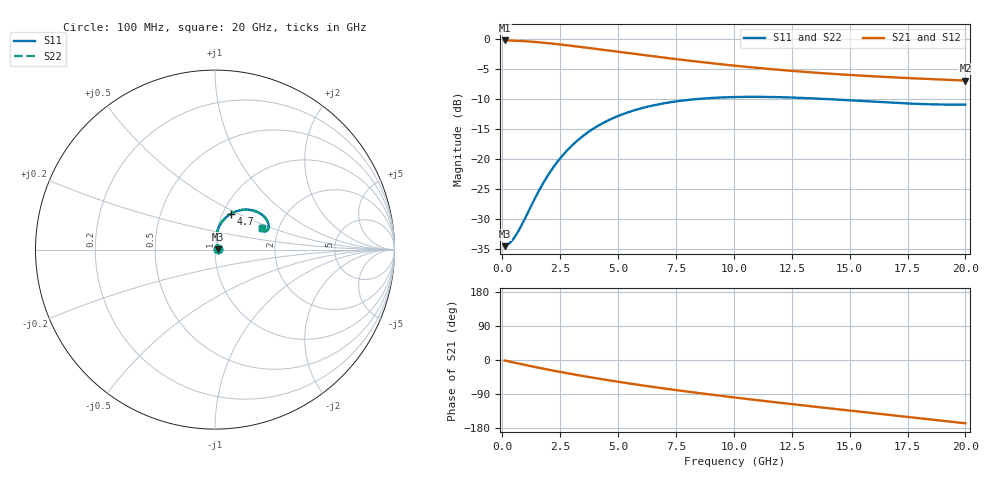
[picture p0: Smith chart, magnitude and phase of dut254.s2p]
! Created with skrf 1.9.0 (http://scikit-rf.org).
# GHz S RI R 50.0
!freq ReS11 ImS11 ReS21 ImS21 ReS12 ImS12 ReS22 ImS22
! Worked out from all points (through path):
!   200 points, 100 MHz to 20 GHz, reference 50 ohm
!   highest |S21| = -0.17 dB at 100 MHz (marker M1); lowest = -6.9 dB at 20 GHz (marker M2)
!   group delay of S21, straight-line fit = 22 ps
!   lowest |S11| = -34.5 dB at 100 MHz (marker M3), VSWR 1.04, Z = 51.9 + j0.271 ohm
!   |S11| at or under -10 dB: start of sweep to 8.245 GHz; 14.28 GHz to end of sweep
!   |S22| runs from -34.5 to -9.6 dB; largest |S21 - S12| = 1.7e-15
!   S11 on the Smith chart (normalised r, x): 100 MHz: 1.04, +0.01; 4.7 GHz: 1.09, +0.46; 20 GHz: 1.64, +0.42
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0.1  0.0187 0.00261  0.9808 -0.0229  0.9808 -0.0229  0.0187 0.00261
0.3  0.0182 0.008  0.9774 -0.0687  0.9774 -0.0687  0.0182 0.008
0.6  0.0167 0.0166  0.9662 -0.1359  0.9662 -0.1359  0.0167 0.0166
0.8  0.0152 0.0228  0.9549 -0.1794  0.9549 -0.1794  0.0152 0.0228
1.1  0.0127 0.0335  0.9328 -0.2416  0.9328 -0.2416  0.0127 0.0335
1.6  0.00945 0.0547  0.8847 -0.3363  0.8847 -0.3363  0.00945 0.0547
1.9  0.00894 0.0693  0.8505 -0.387  0.8505 -0.387  0.00894 0.0693
2.2  0.0101 0.0849  0.8134 -0.433  0.8134 -0.433  0.0101 0.0849
2.8  0.0182 0.1173  0.7333 -0.5111  0.7333 -0.5111  0.0182 0.1173
3.5  0.0373 0.153  0.6348 -0.5808  0.6348 -0.5808  0.0373 0.153
4.1  0.0603 0.1787  0.5497 -0.6241  0.5497 -0.6241  0.0603 0.1787
4.7  0.0871 0.1986  0.4661 -0.6545  0.4661 -0.6545  0.0871 0.1986
5.7  0.135 0.2181  0.3337 -0.6811  0.3337 -0.6811  0.135 0.2181
6.8  0.1848 0.2221  0.2018 -0.6835  0.2018 -0.6835  0.1848 0.2221
8.4  0.2423 0.2063  0.039 -0.653  0.039 -0.653  0.2423 0.2063
10.1  0.28 0.1766  -0.0988 -0.5945  -0.0988 -0.5945  0.28 0.1766
11.7  0.2962 0.1476  -0.2007 -0.5265  -0.2007 -0.5265  0.2962 0.1476
13.4  0.2983 0.1226  -0.2856 -0.447  -0.2856 -0.447  0.2983 0.1226
15  0.2913 0.1076  -0.3474 -0.3676  -0.3474 -0.3676  0.2913 0.1076
16.7  0.2794 0.1021  -0.3961 -0.2795  -0.3961 -0.2795  0.2794 0.1021
18.4  0.2676 0.1068  -0.4282 -0.1886  -0.4282 -0.1886  0.2676 0.1068
20  0.2601 0.119  -0.4428 -0.1016  -0.4428 -0.1016  0.2601 0.119
